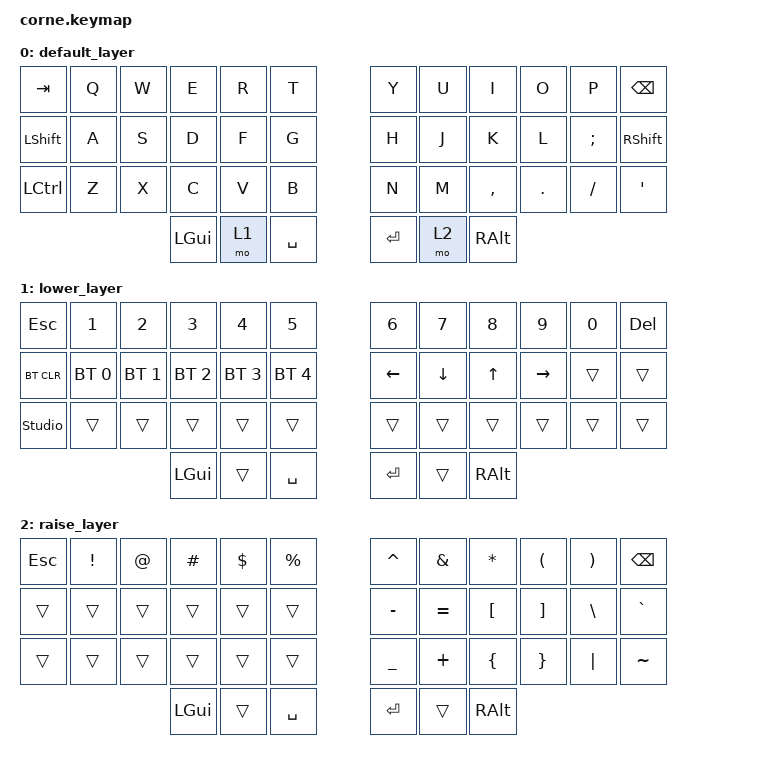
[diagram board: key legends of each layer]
/*
 * Copyright (c) 2020 The ZMK Contributors
 *
 * SPDX-License-Identifier: MIT
 */

#include <behaviors.dtsi>
#include <dt-bindings/zmk/bt.h>
#include <dt-bindings/zmk/keys.h>
#include <dt-bindings/zmk/ext_power.h>
#include <dt-bindings/zmk/outputs.h>

&nice_view_spi { cs-gpios = <&pro_micro 10 GPIO_ACTIVE_HIGH>; };

/ {
    keymap {
        compatible = "zmk,keymap";

                default_layer {

                        bindings = <
   &kp TAB   &kp Q &kp W &kp E &kp R &kp T   &kp Y &kp U  &kp I     &kp O   &kp P    &kp BSPC
   &kp LSHFT &kp A &kp S &kp D &kp F &kp G   &kp H &kp J  &kp K     &kp L   &kp SEMI &kp RSHFT
   &kp LCTRL &kp Z &kp X &kp C &kp V &kp B   &kp N &kp M  &kp COMMA &kp DOT &kp FSLH &kp SQT
                  &kp LGUI &mo 1 &kp SPACE   &kp RET &mo 2 &kp RALT
                        >;
                };
                lower_layer {
// -----------------------------------------------------------------------------------------
// |  ESC |  1  |  2  |  3  |  4  |  5  |   |  6  |  7  |  8  |  9  |  0  | DEL |
// | BTCLR| BT1 | BT2 | BT3 | BT4 | BT5 |   | LFT | DWN |  UP | RGT |     |      |
// |      |     |     |     |     |     |   |     |     |     |     |     |      |
//                    | GUI |     | SPC |   | ENT |     | ALT |
                        bindings = <
   &kp ESC    &kp N1       &kp N2       &kp N3       &kp N4       &kp N5         &kp N6   &kp N7   &kp N8 &kp N9    &kp N0 &kp DEL
   &bt BT_CLR &bt BT_SEL 0 &bt BT_SEL 1 &bt BT_SEL 2 &bt BT_SEL 3 &bt BT_SEL 4   &kp LEFT &kp DOWN &kp UP &kp RIGHT &trans &trans
   &studio_unlock  &trans       &trans       &trans       &trans       &trans         &trans   &trans   &trans &trans    &trans &trans
                                    &kp LGUI     &trans       &kp SPACE      &kp RET  &trans   &kp RALT
                        >;
                };

        raise_layer {
            // -----------------------------------------------------------------------------------------
            // |  ESC |  !  |  @  |  #  |  $  |  %  |   |  ^  |  &  |  *  |  (  |  )  | BSPC |
            // |      |     |     |     |     |     |   |  -  |  =  |  [  |  ]  |  \  |  `   |
            // |      |     |     |     |     |     |   |  _  |  +  |  {  |  }  | "|" |  ~   |
            //                    | GUI |     | SPC |   | ENT |     | ALT |

            bindings = <
&kp ESC    &kp EXCL  &kp AT  &kp HASH  &kp DLLR  &kp PRCNT    &kp CARET  &kp AMPS   &kp ASTRK  &kp LPAR  &kp RPAR  &kp BSPC
&trans  &trans    &trans  &trans    &trans    &trans       &kp MINUS  &kp EQUAL  &kp LBKT   &kp RBKT  &kp BSLH  &kp GRAVE
&trans  &trans    &trans  &trans    &trans    &trans       &kp UNDER  &kp PLUS   &kp LBRC   &kp RBRC  &kp PIPE  &kp TILDE
                             &kp LGUI  &trans    &kp SPACE    &kp RET    &trans     &kp RALT
            >;
        };
    };
};
